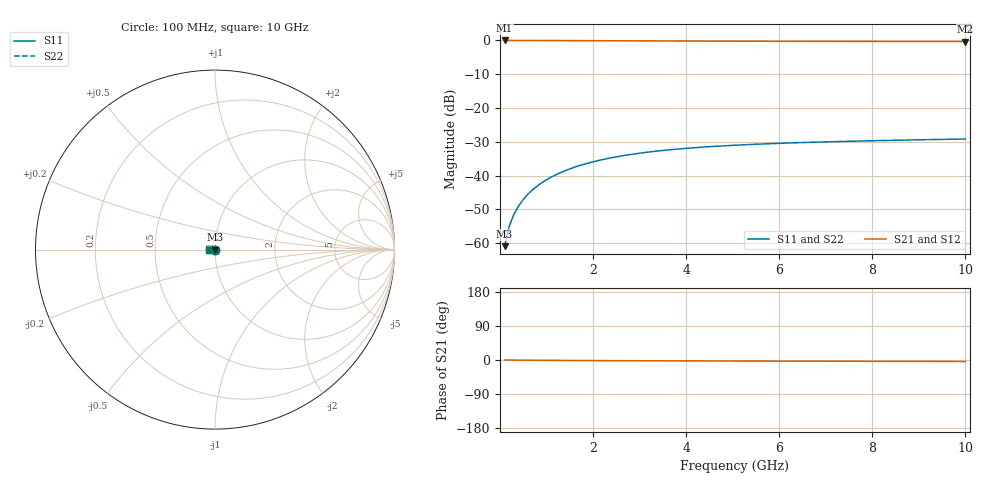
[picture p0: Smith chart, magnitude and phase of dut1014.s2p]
! Touchstone file exported from HFSS 2024.1.0
!  File:  C:/UserFiles/LocalFiles/RDL_TSV_Batchsim/temp_TSV1_1014_1780059214.aedt
!  Generated:  08:58:12 PM May 29, 2026
!  Design:  TSV1
!  Project:  temp_TSV1_1014_1780059214
!  Setup:  Setup1
!  Solution:  Sweep
! Variables:
!  dtsv = 9.45um
!  hbump = 3um
!  htsv = 58.44um
!  lrdl = 252.1521522um
!  p = 40
!  p1 = 42.59um
!  t = 500um
!  trdl = 3um
!  wrdl = 24.89489489um
# GHz S MA R 50.000000
! Terminal data exported
! Port[1] = TSV22_T1
! Port[2] = TSV22_T2
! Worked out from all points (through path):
!   100 points, 100 MHz to 10 GHz, reference 50 ohm
!   highest |S21| = 0.00 dB at 100 MHz (marker M1); lowest = -0.3 dB at 10 GHz (marker M2)
!   lowest |S11| = -60.9 dB at 100 MHz (marker M3), VSWR 1.00, Z = 50 - j0.0894 ohm
!   |S11| at or under -10 dB: start of sweep to end of sweep
!   |S22| runs from -60.9 to -29.2 dB; largest |S21 - S12| = 5.9e-15
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0.1  0.0009006 -82.8  0.9998 -0.1  0.9998 -0.1  0.0009006 -82.8
! Gamma 0 0 0 0
! Port Impedance 50 0 50 0
0.2  0.001784 -88.9  0.9997 -0.2  0.9997 -0.2  0.001784 -88.9
0.3  0.002668 -92.0  0.9996 -0.3  0.9996 -0.3  0.002668 -92.0
0.4  0.003548 -94.4  0.9994 -0.4  0.9994 -0.4  0.003548 -94.4
0.5  0.004423 -96.4  0.9992 -0.4  0.9992 -0.4  0.004423 -96.4
0.6  0.00529 -98.3  0.9989 -0.5  0.9989 -0.5  0.00529 -98.3
0.7  0.006149 -100.1  0.9986 -0.6  0.9986 -0.6  0.006149 -100.1
0.8  0.006997 -101.8  0.9982 -0.7  0.9982 -0.7  0.006997 -101.8
0.9  0.007834 -103.5  0.9978 -0.8  0.9978 -0.8  0.007834 -103.5
1.1  0.009467 -106.8  0.9968 -0.9  0.9968 -0.9  0.009467 -106.8
1.4  0.0118 -111.3  0.9952 -1.2  0.9952 -1.2  0.0118 -111.3
1.6  0.01327 -114.2  0.9941 -1.3  0.9941 -1.3  0.01327 -114.2
1.8  0.01466 -117.0  0.9928 -1.4  0.9928 -1.4  0.01466 -117.0
2.1  0.0166 -121.0  0.991 -1.6  0.991 -1.6  0.0166 -121.0
2.5  0.01893 -125.9  0.9884 -1.8  0.9884 -1.8  0.01893 -125.9
2.9  0.02096 -130.5  0.986 -2.0  0.986 -2.0  0.02096 -130.5
3.4  0.02313 -135.6  0.983 -2.2  0.983 -2.2  0.02313 -135.6
4.2  0.02589 -142.7  0.9789 -2.4  0.9789 -2.4  0.02589 -142.7
5.1  0.02822 -149.4  0.9751 -2.7  0.9751 -2.7  0.02822 -149.4
6.7  0.0311 -158.9  0.9701 -3.1  0.9701 -3.1  0.0311 -158.9
8.4  0.0332 -166.8  0.9665 -3.5  0.9665 -3.5  0.0332 -166.8
10  0.03476 -173.1  0.9641 -3.9  0.9641 -3.9  0.03476 -173.1
